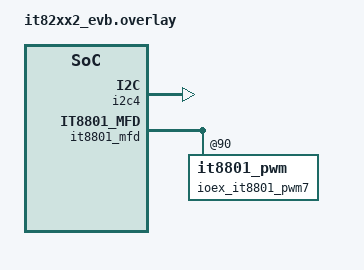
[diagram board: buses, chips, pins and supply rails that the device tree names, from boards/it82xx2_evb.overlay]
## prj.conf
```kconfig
CONFIG_PWM=y
CONFIG_ZTEST=y
CONFIG_TEST_USERSPACE=y

CONFIG_I2C_SHELL=y
CONFIG_SHELL=y
```

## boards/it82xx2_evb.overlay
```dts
/*
 * Copyright (c) 2024 ITE Corporation. All Rights Reserved.
 *
 * SPDX-License-Identifier: Apache-2.0
 */

/ {
	aliases {
		pwm-0 = &ioex_it8801_pwm7;
	};
};

it8801_i2c: &i2c4 {
	status = "okay";
};

#include <ite/it8801-common-cfg.dtsi>

&it8801_mfd {
	irq-gpios = <&gpioa 1 0>;

	ioex_it8801_pwm7: it8801_pwm@90  {
		status = "okay";
	};
};
```

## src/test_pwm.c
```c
/*
 * Copyright (c) 2016 Intel Corporation.
 *
 * SPDX-License-Identifier: Apache-2.0
 */

/**
 * @file
 * @brief Verify PWM can work well when configure through nsec,
 * or cycle.
 *
 * @details
 * - Test Steps
 *   -# Bind PWM_0 port 0.
 *   -# Set PWM period and pulse using pwm_set_cycles() or pwm_set().
 *   -# Use multimeter or other instruments to measure the output
 *	from PWM_OUT_0.
 * - Expected Results
 *   -# The output of PWM_OUT_0 will differ according to the value
 *	of period and pulse.
 *	Always on  ->  Period : Pulse (1 : 1)  ->  3.3V
 *	Half on  ->  Period : Pulse (2 : 1)  ->  1.65V
 *	Always off  ->  Period : Pulse (1 : 0)  ->  0V
 */

#include <zephyr/device.h>
#include <inttypes.h>
#include <zephyr/drivers/pwm.h>
#include <zephyr/kernel.h>
#include <zephyr/ztest.h>

#if DT_NODE_HAS_STATUS_OKAY(DT_ALIAS(pwm_0))
#define PWM_DEV_NODE DT_ALIAS(pwm_0)
#elif DT_NODE_HAS_STATUS_OKAY(DT_ALIAS(pwm_1))
#define PWM_DEV_NODE DT_ALIAS(pwm_1)
#elif DT_NODE_HAS_STATUS_OKAY(DT_ALIAS(pwm_2))
#define PWM_DEV_NODE DT_ALIAS(pwm_2)
#elif DT_NODE_HAS_STATUS_OKAY(DT_ALIAS(pwm_3))
#define PWM_DEV_NODE DT_ALIAS(pwm_3)

#elif DT_HAS_COMPAT_STATUS_OKAY(nordic_nrf_pwm)
#define PWM_DEV_NODE DT_INST(0, nordic_nrf_pwm)

#elif DT_HAS_COMPAT_STATUS_OKAY(st_stm32_pwm)
#define PWM_DEV_NODE DT_INST(0, st_stm32_pwm)

#elif DT_HAS_COMPAT_STATUS_OKAY(xlnx_xps_timer_1_00_a_pwm)
#define PWM_DEV_NODE DT_INST(0, xlnx_xps_timer_1_00_a_pwm)

#elif DT_HAS_COMPAT_STATUS_OKAY(nxp_ftm_pwm)
#define PWM_DEV_NODE DT_INST(0, nxp_ftm_pwm)

#elif DT_HAS_COMPAT_STATUS_OKAY(intel_blinky_pwm)
#define PWM_DEV_NODE DT_INST(0, intel_blinky_pwm)

#elif DT_HAS_COMPAT_STATUS_OKAY(renesas_ra_pwm)
#define PWM_DEV_NODE DT_INST(0, renesas_ra_pwm)

#else
#error "Define a PWM device"
#endif

#if defined(CONFIG_BOARD_COLIBRI_IMX7D_MCIMX7D_M4) || defined(CONFIG_SOC_MK64F12) ||               \
	defined(CONFIG_SOC_MKW41Z4) || defined(CONFIG_SOC_SERIES_ESP32S2) ||                       \
	defined(CONFIG_SOC_SERIES_ESP32S3) || defined(CONFIG_SOC_SERIES_ESP32C3)
#define DEFAULT_PERIOD_CYCLE 1024
#define DEFAULT_PULSE_CYCLE 512
#define DEFAULT_PERIOD_NSEC 2000000
#define DEFAULT_PULSE_NSEC 500000
#elif DT_HAS_COMPAT_STATUS_OKAY(intel_blinky_pwm)
#define DEFAULT_PERIOD_CYCLE 32768
#define DEFAULT_PULSE_CYCLE 16384
#define DEFAULT_PERIOD_NSEC 2000000
#define DEFAULT_PULSE_NSEC 500000
#else
#define DEFAULT_PERIOD_CYCLE 64000
#define DEFAULT_PULSE_CYCLE 32000
#define DEFAULT_PERIOD_NSEC 2000000
#define DEFAULT_PULSE_NSEC 1000000
#endif

#if DT_HAS_COMPAT_STATUS_OKAY(zephyr_fake_pwm)
#include <zephyr/fff.h>
DEFINE_FFF_GLOBALS;
#endif

#if defined CONFIG_BOARD_SAM_E70_XPLAINED
#define DEFAULT_PWM_PORT 2 /* PWM on EXT2 connector, pin 8 */
#elif defined CONFIG_PWM_NRFX
#define DEFAULT_PWM_PORT 0
#define INVALID_PWM_PORT 9
#elif defined CONFIG_BOARD_ADAFRUIT_ITSYBITSY_M4_EXPRESS
#define DEFAULT_PWM_PORT 2 /* TCC1/WO[2] on PA18 (D7) */
#elif defined CONFIG_BOARD_MIMXRT685_EVK
#define DEFAULT_PWM_PORT 7 /* D3 on Arduino connector J27 */
#elif defined(CONFIG_BOARD_LPCXPRESSO55S69_LPC55S69_CPU0_NS) ||                                    \
	defined(CONFIG_BOARD_LPCXPRESSO55S69_LPC55S69_CPU0)
#define DEFAULT_PWM_PORT 2 /* D2 on Arduino connector P18 */
#elif DT_HAS_COMPAT_STATUS_OKAY(st_stm32_pwm)
/* Default port should be adapted per board to fit the channel
 * associated to the PWM pin. For intsance, for following device,
 *      pwm1: pwm {
 *              status = "okay";
 *              pinctrl-0 = <&tim1_ch3_pe13>;
 *      };
 * the following should be used:
 * #define DEFAULT_PWM_PORT 3
 */
#define DEFAULT_PWM_PORT 1
#else
#define DEFAULT_PWM_PORT 7
#endif

#define UNIT_CYCLES	0
#define UNIT_NSECS	1

const struct device *get_pwm_device(void)
{
	return DEVICE_DT_GET(PWM_DEV_NODE);
}

static int test_task(uint32_t port, uint32_t period, uint32_t pulse, uint8_t unit)
{
	TC_PRINT("[PWM]: %" PRIu8 ", [period]: %" PRIu32 ", [pulse]: %" PRIu32 "\n",
		port, period, pulse);

	const struct device *pwm_dev = get_pwm_device();

	if (!device_is_ready(pwm_dev)) {
		TC_PRINT("PWM device is not ready\n");
		return TC_FAIL;
	}

	if (unit == UNIT_CYCLES) {
		/* Verify pwm_set_cycles() */
		if (pwm_set_cycles(pwm_dev, port, period, pulse, BIT(8))) {
			TC_PRINT("Fail to set the period and pulse width\n");
			return TC_FAIL;
		}
	} else { /* unit == UNIT_NSECS */
		/* Verify pwm_set() */
		if (pwm_set(pwm_dev, port, period, pulse, BIT(8))) {
			TC_PRINT("Fail to set the period and pulse width\n");
			return TC_FAIL;
		}
	}

	return TC_PASS;
}

ZTEST_USER(pwm_basic, test_pwm_nsec)
{
	/* Period : Pulse (2000000 : 1000000), unit (nsec). Voltage : 1.65V */
	zassert_true(test_task(DEFAULT_PWM_PORT, DEFAULT_PERIOD_NSEC,
				DEFAULT_PULSE_NSEC, UNIT_NSECS) == TC_PASS, NULL);
	k_sleep(K_MSEC(1000));

	/* Period : Pulse (2000000 : 2000000), unit (nsec). Voltage : 3.3V */
	zassert_true(test_task(DEFAULT_PWM_PORT, DEFAULT_PERIOD_NSEC,
				DEFAULT_PERIOD_NSEC, UNIT_NSECS) == TC_PASS, NULL);
	k_sleep(K_MSEC(1000));

	/* Period : Pulse (2000000 : 0), unit (nsec). Voltage : 0V */
	zassert_true(test_task(DEFAULT_PWM_PORT, DEFAULT_PERIOD_NSEC,
				0, UNIT_NSECS) == TC_PASS, NULL);
	k_sleep(K_MSEC(1000));
}

ZTEST_USER(pwm_basic, test_pwm_cycle)
{
	/* Period : Pulse (64000 : 32000), unit (cycle). Voltage : 1.65V */
	zassert_true(test_task(DEFAULT_PWM_PORT, DEFAULT_PERIOD_CYCLE,
				DEFAULT_PULSE_CYCLE, UNIT_CYCLES) == TC_PASS, NULL);
	k_sleep(K_MSEC(1000));

	/* Period : Pulse (64000 : 64000), unit (cycle). Voltage : 3.3V */
	zassert_true(test_task(DEFAULT_PWM_PORT, DEFAULT_PERIOD_CYCLE,
				DEFAULT_PERIOD_CYCLE, UNIT_CYCLES) == TC_PASS, NULL);
	k_sleep(K_MSEC(1000));

	/* Period : Pulse (64000 : 0), unit (cycle). Voltage : 0V */
	zassert_true(test_task(DEFAULT_PWM_PORT, DEFAULT_PERIOD_CYCLE,
				0, UNIT_CYCLES) == TC_PASS, NULL);
	k_sleep(K_MSEC(1000));
}

#if defined INVALID_PWM_PORT
ZTEST_USER(pwm_basic, test_pwm_invalid_port)
{
	const struct device *pwm_dev = get_pwm_device();

	TC_PRINT("[PWM]: %" PRIu8 ", [period]: %" PRIu32 ", [pulse]: %" PRIu32 "\n",
		INVALID_PWM_PORT, DEFAULT_PERIOD_CYCLE, DEFAULT_PULSE_CYCLE);

	zassert_true(device_is_ready(pwm_dev), "PWM device is not ready");

	zassert_equal(pwm_set_cycles(pwm_dev, INVALID_PWM_PORT, DEFAULT_PERIOD_CYCLE,
				     DEFAULT_PULSE_CYCLE, 0),
		      -EINVAL, "Invalid PWM port\n");

}
#endif
```
